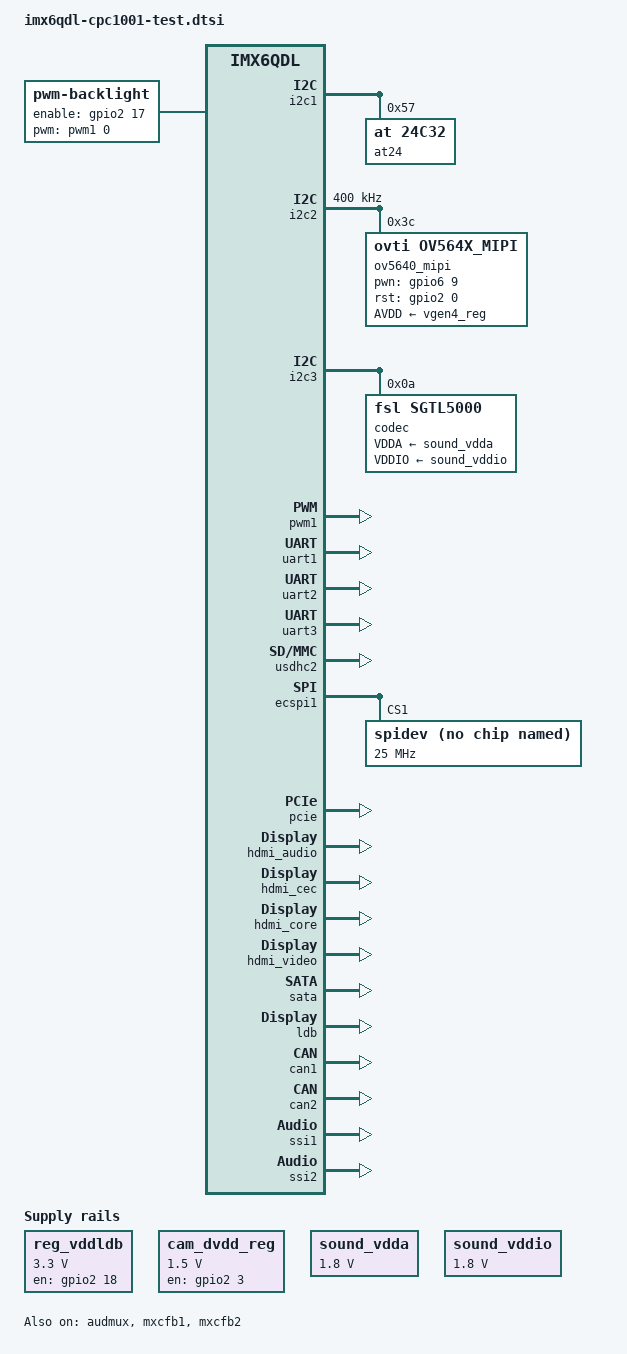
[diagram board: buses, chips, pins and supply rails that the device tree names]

#include "imx6qdl-cpc1001.dtsi"

/ {
	regulators_evalboard {
		compatible = "simple-bus";
		reg_vddldb: vddldb {
			compatible = "regulator-fixed";
			regulator-name = "vddldb";
			regulator-min-microvolt = <3300000>;
			regulator-max-microvolt = <3300000>;
			gpio = <&gpio2 18 GPIO_ACTIVE_HIGH>;
			startup-delay-us = <30000>;
			enable-active-high;
		};

		cam_dvdd_reg: cam_dvdd {
			compatible = "regulator-fixed";
			regulator-name = "cam_dvdd";
			regulator-min-microvolt = <1500000>;
			regulator-max-microvolt = <1500000>;
			gpio = <&gpio2 3 GPIO_ACTIVE_HIGH>;
			enable-active-high;
			/* vin-supply = <&sw4_reg>; */
		};

		sound_vdda: vdda-sound-codec {
			compatible = "regulator-fixed";
			regulator-name = "codec-1V8-1";
			regulator-min-microvolt = <1800000>;
			regulator-max-microvolt = <1800000>;
			regulator-always-on;
		};

		sound_vddio: vddio-sound-codec {
			compatible = "regulator-fixed";
			regulator-name = "codec-1V8-2";
			regulator-min-microvolt = <1800000>;
			regulator-max-microvolt = <1800000>;
			regulator-always-on;
		};
	};

	backlight {
		pinctrl-0 = <&pinctrl_lcd_vdd_backlight>;
		pinctrl-names = "default";
		compatible = "pwm-backlight";
		pwms = <&pwm1 0 5000000>;
		brightness-levels = <0 2 4 8 16 32 48 56 64 80 96 112 128 144 160 176 192 208 224 239 255>;
		default-brightness-level = <8>;
		power-on-delay-ms = <200>;
		enable-gpios = <&gpio2 17 GPIO_ACTIVE_HIGH>;
	};
	
	sound {
		compatible = "fsl,imx6q-sabrelite-sgtl5000",
			         "fsl,imx-audio-sgtl5000";
		model = "imx6q-sabrelite-sgtl5000";
		cpu-dai = <&ssi2>;
		audio-codec = <&codec>;
		audio-routing =
			"MIC_IN", "Mic Jack",
			"Mic Jack", "Mic Bias",
			"Headphone Jack", "HP_OUT";
		mux-int-port = <2>; //ssi1 = 1; ssi2 = 2
		mux-ext-port = <5>; //ssi1 = 3; ssi2 = 5
	};
};

/* Audio */

&audmux {
	pinctrl-names = "default";
	pinctrl-0 = <&pinctrl_audmux_3>;
	status = "okay";
};

/* Watchdog */

/* I2C bus */

&i2c1 {
	status = "okay";
	at24@57 {
		compatible = "at,24c32";
		pagesize = <32>;
		reg = <0x57>;
	};
};

&i2c2 {
	status = "okay";
	clock-frequency = <400000>;

	ov5640_mipi: ov5640_mipi@3c {
		compatible = "ovti,ov564x_mipi";
		reg = <0x3c>;
		clocks = <&clks 201>;
		clock-names = "csi_mclk";
		/* DOVDD-supply = <&sw4_reg>; */
		AVDD-supply = <&vgen4_reg>;
		/*DVDD-supply = <&cam_dvdd_reg>;*/
		pwn-gpios = <&gpio6 9 GPIO_ACTIVE_HIGH>;
		rst-gpios = <&gpio2 0 GPIO_ACTIVE_HIGH>;
		csi_id = <1>;
		mclk = <24000000>;
		mclk_source = <0>;
	};
};

&i2c3 {
	status = "okay";

	codec: sgtl5000@0a {
		compatible = "fsl,sgtl5000";
		reg = <0x0a>;
		clocks = <&clks 201>;
		VDDA-supply = <&sound_vdda>;
		VDDIO-supply = <&sound_vddio>;
	};
};

/* MIPI CSI */

/* PWM */

&pwm1 {
	status = "okay";
};

/* UART */

&uart1 {
	status = "okay";
};

&uart2 {
	status = "okay";
};

&uart3 {
	status = "okay";
};

&iomuxc {
	pinctrl-names = "default";
	pinctrl-0 = <&pinctrl_hog_1>;

	hog {
		pinctrl_hog_1: hoggrp-1 {
			fsl,pins = <
				MX6QDL_PAD_GPIO_19__CCM_CLKO1      0x130b0
				MX6QDL_PAD_SD1_DAT3__PWM1_OUT	0x1b0b0		/* LCD_BKLT_PWM */
				MX6QDL_PAD_EIM_A21__GPIO2_IO17	0x1b0b0		/* LCD_BKLT_EN */
				MX6QDL_PAD_EIM_A20__GPIO2_IO18	0x1b0b0		/* LCD_VDD_EN */
			>;
		};
	};

	backlight {
		pinctrl_lcd_vdd_backlight: lcd_vdd_backlight {
			fsl,pins = <
				MX6QDL_PAD_SD1_DAT3__PWM1_OUT	0x1b0b0
				MX6QDL_PAD_EIM_A21__GPIO2_IO17	0x1b0b0
			>;
		};
	};

	audmux {
		pinctrl_audmux_3: audmux-3 {
			fsl,pins = <
				MX6QDL_PAD_CSI0_DAT7__AUD3_RXD  0x130b0
				MX6QDL_PAD_CSI0_DAT4__AUD3_TXC  0x130b0
				MX6QDL_PAD_CSI0_DAT5__AUD3_TXD  0x110b0
				MX6QDL_PAD_CSI0_DAT6__AUD3_TXFS 0x130b0
				MX6QDL_PAD_KEY_ROW1__AUD5_RXD   0x130b0
				MX6QDL_PAD_KEY_COL0__AUD5_TXC   0x130b0
				MX6QDL_PAD_KEY_ROW0__AUD5_TXD   0x110b0
				MX6QDL_PAD_KEY_COL1__AUD5_TXFS  0x130b0
			>;
		};
	};
};

/* SD/MMC */

&usdhc2 {
	/* cd-gpios = <&gpio1 4 GPIO_ACTIVE_HIGH>; */
	no-1-8-v;
	keep-power-in-suspend;
	status = "okay";
};

/* SPI */

&ecspi1 {
	status = "okay";
	cs-gpios = <&gpio2 30 GPIO_ACTIVE_HIGH>, <>;
	spidev@1 {
		compatible = "spidev";
		reg = <1>;
		spi-max-frequency = <25000000>;
	};
};

/* FEC */

/* CPU */

/* USB */

/* PCIe */

&pcie {
	status = "okay";
};

/* HDMI */

&hdmi_audio {
	status = "okay";
};

&hdmi_cec {
	status = "okay";
};

&hdmi_core {
	status = "okay";
};

&hdmi_video {
	status = "okay";
};

/* SATA */

&sata {
	status = "okay";
};

/* LDB */

&ldb {
	status = "okay";
	lvds-channel@0 {
		reg = <0>;
		crtc = "ipu2-di0";
		vddldb-supply = <&reg_vddldb>;
		fsl,data-mapping = "spwg";
		fsl,data-width = <24>;
		primary;
		status = "okay";

		display-timings {
			native-mode = <&timing0>;
			timing0: G084SN05V9 {
				clock-frequency = <39800000>;
				hactive = <800>;
				vactive = <600>;
				hback-porch = <128>;
				hfront-porch = <128>;
				vback-porch = <14>;
				vfront-porch = <14>;
				hsync-len = <1>;
				vsync-len = <1>;
			};
		};
	};

	lvds-channel@1 {
		crtc = "ipu2-di1";
		status = "disabled";
	};
};

&mxcfb1 {
	status = "okay";
	late_init = <1>;
};

&mxcfb2 {
	status = "okay";
};

&mxcfb3 {
	status = "disabled";
};

&mxcfb4 {
	status = "disabled";
};

/* CAN */

&can1 {
	status = "okay";
};

&can2 {
	status = "okay";
};

/* SSI */

&ssi1 {
	fsl,mode = "i2s-slave";
	status = "okay";
};

&ssi2 {
	fsl,mode = "i2s-slave";
	status = "okay";
};

